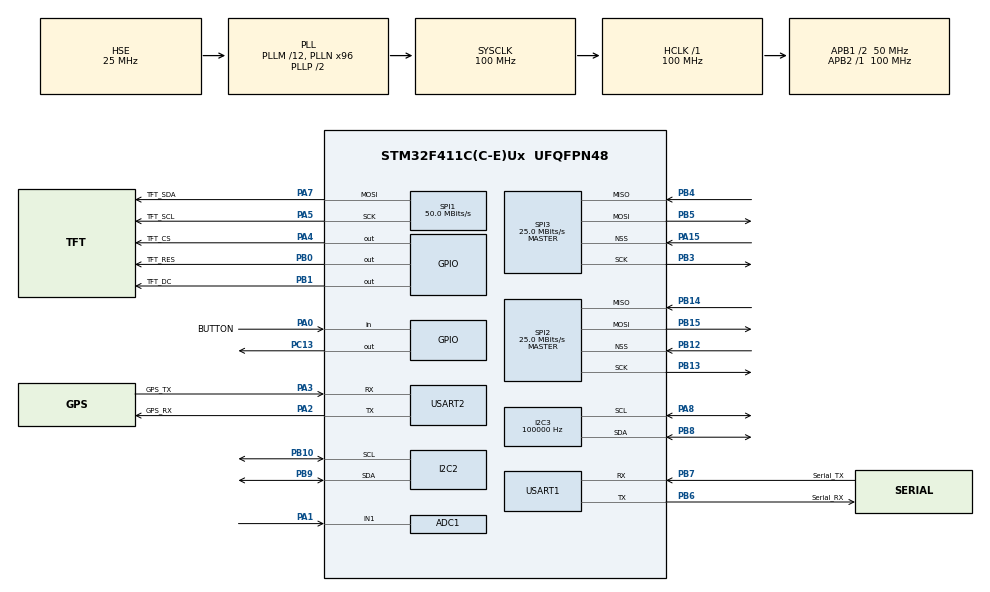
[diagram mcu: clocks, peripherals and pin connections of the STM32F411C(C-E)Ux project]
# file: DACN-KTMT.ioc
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ADC1.Channel-1\#ChannelRegularConversion=ADC_CHANNEL_1
ADC1.ContinuousConvMode=ENABLE
ADC1.InjNumberOfConversion=0
ADC1.NbrOfConversionFlag=1
ADC1.Rank-1\#ChannelRegularConversion=1
ADC1.SamplingTime-1\#ChannelRegularConversion=ADC_SAMPLETIME_3CYCLES
ADC1.master=1
Dma.I2C2_RX.2.Direction=DMA_PERIPH_TO_MEMORY
Dma.I2C2_RX.2.FIFOMode=DMA_FIFOMODE_DISABLE
Dma.I2C2_RX.2.Instance=DMA1_Stream3
Dma.I2C2_RX.2.MemDataAlignment=DMA_MDATAALIGN_BYTE
Dma.I2C2_RX.2.MemInc=DMA_MINC_ENABLE
Dma.I2C2_RX.2.Mode=DMA_NORMAL
Dma.I2C2_RX.2.PeriphDataAlignment=DMA_PDATAALIGN_BYTE
Dma.I2C2_RX.2.PeriphInc=DMA_PINC_DISABLE
Dma.I2C2_RX.2.Priority=DMA_PRIORITY_LOW
Dma.I2C2_TX.3.Direction=DMA_MEMORY_TO_PERIPH
Dma.I2C2_TX.3.FIFOMode=DMA_FIFOMODE_DISABLE
Dma.I2C2_TX.3.Instance=DMA1_Stream7
Dma.I2C2_TX.3.MemDataAlignment=DMA_MDATAALIGN_BYTE
Dma.I2C2_TX.3.MemInc=DMA_MINC_ENABLE
Dma.I2C2_TX.3.Mode=DMA_NORMAL
Dma.I2C2_TX.3.PeriphDataAlignment=DMA_PDATAALIGN_BYTE
Dma.I2C2_TX.3.PeriphInc=DMA_PINC_DISABLE
Dma.I2C2_TX.3.Priority=DMA_PRIORITY_LOW
Dma.I2C3_RX.5.Direction=DMA_PERIPH_TO_MEMORY
Dma.I2C3_RX.5.FIFOMode=DMA_FIFOMODE_DISABLE
Dma.I2C3_RX.5.Instance=DMA1_Stream2
Dma.I2C3_RX.5.MemDataAlignment=DMA_MDATAALIGN_BYTE
Dma.I2C3_RX.5.MemInc=DMA_MINC_ENABLE
Dma.I2C3_RX.5.Mode=DMA_NORMAL
Dma.I2C3_RX.5.PeriphDataAlignment=DMA_PDATAALIGN_BYTE
Dma.I2C3_RX.5.PeriphInc=DMA_PINC_DISABLE
Dma.I2C3_RX.5.Priority=DMA_PRIORITY_LOW
Dma.I2C3_TX.6.Direction=DMA_MEMORY_TO_PERIPH
Dma.I2C3_TX.6.FIFOMode=DMA_FIFOMODE_DISABLE
Dma.I2C3_TX.6.Instance=DMA1_Stream4
Dma.I2C3_TX.6.MemDataAlignment=DMA_MDATAALIGN_BYTE
Dma.I2C3_TX.6.MemInc=DMA_MINC_ENABLE
Dma.I2C3_TX.6.Mode=DMA_NORMAL
Dma.I2C3_TX.6.PeriphDataAlignment=DMA_PDATAALIGN_BYTE
Dma.I2C3_TX.6.PeriphInc=DMA_PINC_DISABLE
Dma.I2C3_TX.6.Priority=DMA_PRIORITY_LOW
Dma.Request0=USART2_RX
Dma.Request1=USART1_TX
Dma.Request2=I2C2_RX
Dma.Request3=I2C2_TX
Dma.Request4=SPI1_TX
Dma.Request5=I2C3_RX
Dma.Request6=I2C3_TX
Dma.SPI1_TX.4.Direction=DMA_MEMORY_TO_PERIPH
Dma.SPI1_TX.4.FIFOMode=DMA_FIFOMODE_DISABLE
Dma.SPI1_TX.4.Instance=DMA2_Stream2
Dma.SPI1_TX.4.MemDataAlignment=DMA_MDATAALIGN_BYTE
Dma.SPI1_TX.4.MemInc=DMA_MINC_ENABLE
Dma.SPI1_TX.4.Mode=DMA_NORMAL
Dma.SPI1_TX.4.PeriphDataAlignment=DMA_PDATAALIGN_BYTE
Dma.SPI1_TX.4.PeriphInc=DMA_PINC_DISABLE
Dma.SPI1_TX.4.Priority=DMA_PRIORITY_LOW
Dma.USART1_TX.1.Direction=DMA_MEMORY_TO_PERIPH
Dma.USART1_TX.1.FIFOMode=DMA_FIFOMODE_DISABLE
Dma.USART1_TX.1.Instance=DMA2_Stream7
Dma.USART1_TX.1.MemDataAlignment=DMA_MDATAALIGN_BYTE
Dma.USART1_TX.1.MemInc=DMA_MINC_ENABLE
Dma.USART1_TX.1.Mode=DMA_NORMAL
Dma.USART1_TX.1.PeriphDataAlignment=DMA_PDATAALIGN_BYTE
Dma.USART1_TX.1.PeriphInc=DMA_PINC_DISABLE
Dma.USART1_TX.1.Priority=DMA_PRIORITY_LOW
Dma.USART2_RX.0.Direction=DMA_PERIPH_TO_MEMORY
Dma.USART2_RX.0.FIFOMode=DMA_FIFOMODE_DISABLE
Dma.USART2_RX.0.Instance=DMA1_Stream5
Dma.USART2_RX.0.MemDataAlignment=DMA_MDATAALIGN_BYTE
Dma.USART2_RX.0.MemInc=DMA_MINC_ENABLE
Dma.USART2_RX.0.Mode=DMA_NORMAL
Dma.USART2_RX.0.PeriphDataAlignment=DMA_PDATAALIGN_BYTE
Dma.USART2_RX.0.PeriphInc=DMA_PINC_DISABLE
Dma.USART2_RX.0.Priority=DMA_PRIORITY_LOW
FREERTOS.Tasks01=TaskIMU,2,1024,StartTaskIMU,Default,NULL,Dynamic,NULL,NULL;TaskGPS,1,512,StartTaskGPS,Default,NULL,Dynamic,NULL,NULL;TaskLCD,-1,512,StartTaskLCD,Default,NULL,Dynamic,NULL,NULL;TaskBattery,0,128,StartTaskBattery,Default,NULL,Dynamic,NULL,NULL
FREERTOS.configENABLE_FPU=1
FREERTOS.configUSE_NEWLIB_REENTRANT=1
FREERTOS.configUSE_PREEMPTION=1
I2C2.I2C_Mode=I2C_Standard
I2C3.ClockSpeed=100000
Mcu.Family=STM32F4
Mcu.Name=STM32F411C(C-E)Ux
Mcu.Package=UFQFPN48
NVIC.ADC_IRQn=true\:5\:0\:false\:false\:true\:true\:true\:true\:true
NVIC.DMA1_Stream2_IRQn=true\:5\:0\:false\:false\:true\:false\:false\:true\:true
NVIC.DMA1_Stream3_IRQn=true\:5\:0\:false\:false\:true\:true\:false\:true\:true
NVIC.DMA1_Stream4_IRQn=true\:5\:0\:false\:false\:true\:true\:false\:true\:true
NVIC.DMA1_Stream5_IRQn=true\:5\:0\:false\:false\:true\:true\:false\:true\:true
NVIC.DMA1_Stream7_IRQn=true\:5\:0\:false\:false\:true\:true\:false\:true\:true
NVIC.DMA2_Stream2_IRQn=true\:5\:0\:false\:false\:true\:true\:false\:true\:true
NVIC.DMA2_Stream7_IRQn=true\:5\:0\:false\:false\:true\:true\:false\:true\:true
NVIC.I2C2_ER_IRQn=true\:5\:0\:false\:false\:true\:true\:true\:true\:true
NVIC.I2C2_EV_IRQn=true\:5\:0\:false\:false\:true\:true\:true\:true\:true
NVIC.I2C3_ER_IRQn=true\:5\:0\:false\:false\:true\:true\:true\:true\:true
NVIC.I2C3_EV_IRQn=true\:5\:0\:false\:false\:true\:true\:true\:true\:true
NVIC.PriorityGroup=NVIC_PRIORITYGROUP_4
NVIC.SPI1_IRQn=true\:5\:0\:false\:false\:true\:true\:true\:true\:true
NVIC.TIM2_IRQn=true\:5\:0\:false\:false\:true\:true\:true\:true\:true
NVIC.TIM4_IRQn=true\:15\:0\:false\:false\:true\:false\:false\:true\:true
NVIC.TimeBase=TIM4_IRQn
NVIC.TimeBaseIP=TIM4
NVIC.USART1_IRQn=true\:5\:0\:false\:false\:true\:true\:true\:true\:true
NVIC.USART2_IRQn=true\:5\:0\:false\:false\:true\:true\:true\:true\:true
PA0-WKUP.GPIO_Label=BUTTON
PA0-WKUP.Signal=GPIO_Input
PA1.Signal=ADCx_IN1
PA13.Mode=Serial_Wire
PA13.Signal=SYS_JTMS-SWDIO
PA14.Mode=Serial_Wire
PA14.Signal=SYS_JTCK-SWCLK
PA15.Mode=NSS_Signal_Hard_Input
PA15.Signal=SPI3_NSS
PA2.GPIO_Label=GPS_RX
PA2.Mode=Asynchronous
PA2.Signal=USART2_TX
PA3.GPIO_Label=GPS_TX
PA3.Mode=Asynchronous
PA3.Signal=USART2_RX
PA4.GPIO_Label=TFT_CS
PA4.Signal=GPIO_Output
PA5.GPIO_Label=TFT_SCL
PA5.Mode=TX_Only_Simplex_Unidirect_Master
PA5.Signal=SPI1_SCK
PA7.GPIO_Label=TFT_SDA
PA7.Mode=TX_Only_Simplex_Unidirect_Master
PA7.Signal=SPI1_MOSI
PA8.Mode=I2C
PA8.Signal=I2C3_SCL
PB0.GPIO_Label=TFT_RES
PB0.Signal=GPIO_Output
PB1.GPIO_Label=TFT_DC
PB1.Signal=GPIO_Output
PB10.Mode=I2C
PB10.Signal=I2C2_SCL
PB12.Mode=NSS_Signal_Hard_Input
PB12.Signal=SPI2_NSS
PB13.Mode=Full_Duplex_Master
PB13.Signal=SPI2_SCK
PB14.Mode=Full_Duplex_Master
PB14.Signal=SPI2_MISO
PB15.Mode=Full_Duplex_Master
PB15.Signal=SPI2_MOSI
PB3.Mode=Full_Duplex_Master
PB3.Signal=SPI3_SCK
PB4.Mode=Full_Duplex_Master
PB4.Signal=SPI3_MISO
PB5.Mode=Full_Duplex_Master
PB5.Signal=SPI3_MOSI
PB6.GPIO_Label=Serial_RX
PB6.Mode=Asynchronous
PB6.Signal=USART1_TX
PB7.GPIO_Label=Serial_TX
PB7.Mode=Asynchronous
PB7.Signal=USART1_RX
PB8.Mode=I2C
PB8.Signal=I2C3_SDA
PB9.Mode=I2C
PB9.Signal=I2C2_SDA
PC13-ANTI_TAMP.Signal=GPIO_Output
PH0\ -\ OSC_IN.Mode=HSE-External-Oscillator
PH0\ -\ OSC_IN.Signal=RCC_OSC_IN
PH1\ -\ OSC_OUT.Mode=HSE-External-Oscillator
PH1\ -\ OSC_OUT.Signal=RCC_OSC_OUT
ProjectManager.HeapSize=0x200
ProjectManager.StackSize=0x400
ProjectManager.TargetToolchain=STM32CubeIDE
RCC.48MHZClocksFreq_Value=50000000
RCC.AHBFreq_Value=100000000
RCC.APB1CLKDivider=RCC_HCLK_DIV2
RCC.APB1Freq_Value=50000000
RCC.APB1TimFreq_Value=100000000
RCC.APB2Freq_Value=100000000
RCC.APB2TimFreq_Value=100000000
RCC.CortexFreq_Value=100000000
RCC.HCLKFreq_Value=100000000
RCC.HSE_VALUE=25000000
RCC.HSI_VALUE=16000000
RCC.LSE_VALUE=32768
RCC.PLLM=12
RCC.PLLN=96
RCC.PLLSourceVirtual=RCC_PLLSOURCE_HSE
RCC.SYSCLKFreq_VALUE=100000000
RCC.SYSCLKSource=RCC_SYSCLKSOURCE_PLLCLK
RCC.VCOOutputFreq_Value=200000000
SH.ADCx_IN1.0=ADC1_IN1,IN1
SPI1.BaudRatePrescaler=SPI_BAUDRATEPRESCALER_2
SPI1.CalculateBaudRate=50.0 MBits/s
SPI1.Direction=SPI_DIRECTION_2LINES
SPI1.Mode=SPI_MODE_MASTER
SPI1.VirtualType=VM_MASTER
SPI2.CalculateBaudRate=25.0 MBits/s
SPI2.Direction=SPI_DIRECTION_2LINES
SPI2.Mode=SPI_MODE_MASTER
SPI2.VirtualNSS=VM_NSSHARD
SPI2.VirtualType=VM_MASTER
SPI3.CalculateBaudRate=25.0 MBits/s
SPI3.Direction=SPI_DIRECTION_2LINES
SPI3.Mode=SPI_MODE_MASTER
SPI3.VirtualNSS=VM_NSSHARD
SPI3.VirtualType=VM_MASTER
TIM2.Period=99
TIM2.Prescaler=9999
USART1.VirtualMode=VM_ASYNC
USART2.VirtualMode=VM_ASYNC
VP_FREERTOS_VS_CMSIS_V1.Mode=CMSIS_V1
VP_SYS_VS_tim4.Mode=TIM4
VP_TIM2_VS_ClockSourceINT.Mode=Internal
board=custom

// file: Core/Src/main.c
/* USER CODE BEGIN Header */
/**
  ******************************************************************************
  * @file           : main.c
  * @brief          : Main program body
  ******************************************************************************
  * @attention
  *
  * Copyright (c) 2025 STMicroelectronics.
  * All rights reserved.
  *
  * This software is licensed under terms that can be found in the LICENSE file
  * in the root directory of this software component.
  * If no LICENSE file comes with this software, it is provided AS-IS.
  *
  ******************************************************************************
  */
/* USER CODE END Header */
#include "main.h"
#include "cmsis_os.h"

/* USER CODE BEGIN Includes */
#include "global.h"
#include "st7735.h"
#include "gps.h"
#include "serial.h"
#include "timer.h"
#include "button.h"
#include "ukf.h"
#include "gps_ukf.h"
#include "imu.h"
#include "imu_10DOF.h"
#include "battery.h"
#include "gps_kf.h"

/* USER CODE END Includes */

ADC_HandleTypeDef hadc1;

I2C_HandleTypeDef hi2c2;
I2C_HandleTypeDef hi2c3;
DMA_HandleTypeDef hdma_i2c2_rx;
DMA_HandleTypeDef hdma_i2c2_tx;
DMA_HandleTypeDef hdma_i2c3_rx;
DMA_HandleTypeDef hdma_i2c3_tx;

SPI_HandleTypeDef hspi1;
SPI_HandleTypeDef hspi2;
SPI_HandleTypeDef hspi3;
DMA_HandleTypeDef hdma_spi1_tx;

TIM_HandleTypeDef htim2;

UART_HandleTypeDef huart1;
UART_HandleTypeDef huart2;
DMA_HandleTypeDef hdma_usart1_tx;
DMA_HandleTypeDef hdma_usart2_rx;

osThreadId TaskIMUHandle;
osThreadId TaskGPSHandle;
osThreadId TaskLCDHandle;
osThreadId TaskBatteryHandle;
/* USER CODE BEGIN PV */
double loc_gps_lon = 0.0;
double loc_gps_lat = 0.0;
double loc_gps_alt = 0.0;
double loc_azi = 0.0;
double loc_pitch = 0.0;
double loc_yaw = 0.0;
double loc_roll = 0.0;

double tag_gps_lon = 0.0;
double tag_gps_lat = 0.0;
double tag_gps_alt = 0.0;
double tag_distance = 0.0;

double gps_hdop = 0.0;

uint16_t battery_percent = 0;
uint8_t battery_percent_window[10];
uint8_t battery_curr_idx=0;

struct geod_geodesic g;

uint8_t gps_uart_idx = 0;
uint8_t gps_uart_tranfer_count = 0;

COORDINATES_t raw_coordinates;
COORDINATES_t kf_point;
int time = 0;
uint8_t kf_start =0;
double R_matrix[3][3];

int is_gps_new = 0;
/* USER CODE END PV */

void SystemClock_Config(void);
static void MX_GPIO_Init(void);
static void MX_DMA_Init(void);
static void MX_USART1_UART_Init(void);
static void MX_SPI1_Init(void);
static void MX_USART2_UART_Init(void);
static void MX_SPI2_Init(void);
static void MX_I2C2_Init(void);
static void MX_I2C3_Init(void);
static void MX_SPI3_Init(void);
static void MX_TIM2_Init(void);
static void MX_ADC1_Init(void);
void StartTaskIMU(void const * argument);
void StartTaskGPS(void const * argument);
void StartTaskLCD(void const * argument);
void StartTaskBattery(void const * argument);

int main(void)
{

  /* MCU Configuration--------------------------------------------------------*/

  /* Reset of all peripherals, Initializes the Flash interface and the Systick. */
  HAL_Init();

  /* Configure the system clock */
  SystemClock_Config();

  /* Initialize all configured peripherals */
  MX_GPIO_Init();
  MX_DMA_Init();
  MX_USART1_UART_Init();
  MX_SPI1_Init();
  MX_USART2_UART_Init();
  MX_SPI2_Init();
  MX_I2C2_Init();
  MX_I2C3_Init();
  MX_SPI3_Init();
  MX_TIM2_Init();
  MX_ADC1_Init();
  /* USER CODE BEGIN 2 */
  GPS_Init();
  geod_init(&g, 6378137, 1/298.257223563);

  Battery_Init();

  for(uint8_t i = 0;i<10;i++){
	  Battery_Run();
	  battery_percent_window[i] = Battery_Get_Percent();
	  HAL_Delay(200);
  }
  for(uint8_t i = 0;i<10;i++){
	  battery_percent+=battery_percent_window[i];
  }
  	  battery_percent /= 10;
  ST7735_init();
  GPS_KF_Init(&kf_gps, 0.05);
  HAL_Delay(100);
  ukfInit(&ukf, &hi2c2, &hi2c3);
  HAL_Delay(500);
  Timer_Init();
  Timer_Set(0, 20); //IMU
  Timer_Set(1, 10); //Battery
  Timer_Set(2, 100); // GPS + Karney
  Timer_Set(3, 100); // LCD
  /* USER CODE END 2 */

  /* USER CODE BEGIN RTOS_SEMAPHORES */
  /* add semaphores, ... */
  Semaphore_init();
  /* USER CODE END RTOS_SEMAPHORES */

  /* Create the thread(s) */
  /* definition and creation of TaskIMU */
  osThreadDef(TaskIMU, StartTaskIMU, osPriorityHigh, 0, 1024);
  TaskIMUHandle = osThreadCreate(osThread(TaskIMU), NULL);

  /* definition and creation of TaskGPS */
  osThreadDef(TaskGPS, StartTaskGPS, osPriorityAboveNormal, 0, 512);
  TaskGPSHandle = osThreadCreate(osThread(TaskGPS), NULL);

  /* definition and creation of TaskLCD */
  osThreadDef(TaskLCD, StartTaskLCD, osPriorityBelowNormal, 0, 512);
  TaskLCDHandle = osThreadCreate(osThread(TaskLCD), NULL);

  /* definition and creation of TaskBattery */
  osThreadDef(TaskBattery, StartTaskBattery, osPriorityNormal, 0, 128);
  TaskBatteryHandle = osThreadCreate(osThread(TaskBattery), NULL);

  /* Start scheduler */
  osKernelStart();

  /* We should never get here as control is now taken by the scheduler */

  /* Infinite loop */
  while (1)
  {

  }
}

void SystemClock_Config(void)
{
  RCC_OscInitTypeDef RCC_OscInitStruct = {0};
  RCC_ClkInitTypeDef RCC_ClkInitStruct = {0};

  /** Configure the main internal regulator output voltage
  */
  __HAL_RCC_PWR_CLK_ENABLE();
  __HAL_PWR_VOLTAGESCALING_CONFIG(PWR_REGULATOR_VOLTAGE_SCALE1);

  /** Initializes the RCC Oscillators according to the specified parameters
  * in the RCC_OscInitTypeDef structure.
  */
  RCC_OscInitStruct.OscillatorType = RCC_OSCILLATORTYPE_HSE;
  RCC_OscInitStruct.HSEState = RCC_HSE_ON;
  RCC_OscInitStruct.PLL.PLLState = RCC_PLL_ON;
  RCC_OscInitStruct.PLL.PLLSource = RCC_PLLSOURCE_HSE;
  RCC_OscInitStruct.PLL.PLLM = 12;
  RCC_OscInitStruct.PLL.PLLN = 96;
  RCC_OscInitStruct.PLL.PLLP = RCC_PLLP_DIV2;
  RCC_OscInitStruct.PLL.PLLQ = 4;
  if (HAL_RCC_OscConfig(&RCC_OscInitStruct) != HAL_OK)
  {
    Error_Handler();
  }

  /** Initializes the CPU, AHB and APB buses clocks
  */
  RCC_ClkInitStruct.ClockType = RCC_CLOCKTYPE_HCLK|RCC_CLOCKTYPE_SYSCLK
                              |RCC_CLOCKTYPE_PCLK1|RCC_CLOCKTYPE_PCLK2;
  RCC_ClkInitStruct.SYSCLKSource = RCC_SYSCLKSOURCE_PLLCLK;
  RCC_ClkInitStruct.AHBCLKDivider = RCC_SYSCLK_DIV1;
  RCC_ClkInitStruct.APB1CLKDivider = RCC_HCLK_DIV2;
  RCC_ClkInitStruct.APB2CLKDivider = RCC_HCLK_DIV1;

  if (HAL_RCC_ClockConfig(&RCC_ClkInitStruct, FLASH_LATENCY_3) != HAL_OK)
  {
    Error_Handler();
  }
}

static void MX_ADC1_Init(void)
{

  ADC_ChannelConfTypeDef sConfig = {0};

  /** Configure the global features of the ADC (Clock, Resolution, Data Alignment and number of conversion)
  */
  hadc1.Instance = ADC1;
  hadc1.Init.ClockPrescaler = ADC_CLOCK_SYNC_PCLK_DIV4;
  hadc1.Init.Resolution = ADC_RESOLUTION_12B;
  hadc1.Init.ScanConvMode = DISABLE;
  hadc1.Init.ContinuousConvMode = ENABLE;
  hadc1.Init.DiscontinuousConvMode = DISABLE;
  hadc1.Init.ExternalTrigConvEdge = ADC_EXTERNALTRIGCONVEDGE_NONE;
  hadc1.Init.ExternalTrigConv = ADC_SOFTWARE_START;
  hadc1.Init.DataAlign = ADC_DATAALIGN_RIGHT;
  hadc1.Init.NbrOfConversion = 1;
  hadc1.Init.DMAContinuousRequests = DISABLE;
  hadc1.Init.EOCSelection = ADC_EOC_SINGLE_CONV;
  if (HAL_ADC_Init(&hadc1) != HAL_OK)
  {
    Error_Handler();
  }

  /** Configure for the selected ADC regular channel its corresponding rank in the sequencer and its sample time.
  */
  sConfig.Channel = ADC_CHANNEL_1;
  sConfig.Rank = 1;
  sConfig.SamplingTime = ADC_SAMPLETIME_3CYCLES;
  if (HAL_ADC_ConfigChannel(&hadc1, &sConfig) != HAL_OK)
  {
    Error_Handler();
  }

}

static void MX_I2C2_Init(void)
{

  /* USER CODE BEGIN I2C2_Init 0 */
	HAL_NVIC_SetPriority(I2C2_EV_IRQn, 6, 0);
	HAL_NVIC_EnableIRQ(I2C2_EV_IRQn);

	HAL_NVIC_SetPriority(I2C2_ER_IRQn, 6, 0);
	HAL_NVIC_EnableIRQ(I2C2_ER_IRQn);
  /* USER CODE END I2C2_Init 0 */

  hi2c2.Instance = I2C2;
  hi2c2.Init.ClockSpeed = 100000;
  hi2c2.Init.DutyCycle = I2C_DUTYCYCLE_2;
  hi2c2.Init.OwnAddress1 = 0;
  hi2c2.Init.AddressingMode = I2C_ADDRESSINGMODE_7BIT;
  hi2c2.Init.DualAddressMode = I2C_DUALADDRESS_DISABLE;
  hi2c2.Init.OwnAddress2 = 0;
  hi2c2.Init.GeneralCallMode = I2C_GENERALCALL_DISABLE;
  hi2c2.Init.NoStretchMode = I2C_NOSTRETCH_DISABLE;
  if (HAL_I2C_Init(&hi2c2) != HAL_OK)
  {
    Error_Handler();
  }

}

static void MX_I2C3_Init(void)
{

  /* USER CODE BEGIN I2C3_Init 0 */
  HAL_NVIC_SetPriority(I2C3_EV_IRQn, 6, 0);
  HAL_NVIC_EnableIRQ(I2C3_EV_IRQn);
  HAL_NVIC_SetPriority(I2C3_ER_IRQn, 6, 0);
  HAL_NVIC_EnableIRQ(I2C3_ER_IRQn);
  /* USER CODE END I2C3_Init 0 */

  hi2c3.Instance = I2C3;
  hi2c3.Init.ClockSpeed = 100000;
  hi2c3.Init.DutyCycle = I2C_DUTYCYCLE_2;
  hi2c3.Init.OwnAddress1 = 0;
  hi2c3.Init.AddressingMode = I2C_ADDRESSINGMODE_7BIT;
  hi2c3.Init.DualAddressMode = I2C_DUALADDRESS_DISABLE;
  hi2c3.Init.OwnAddress2 = 0;
  hi2c3.Init.GeneralCallMode = I2C_GENERALCALL_DISABLE;
  hi2c3.Init.NoStretchMode = I2C_NOSTRETCH_DISABLE;
  if (HAL_I2C_Init(&hi2c3) != HAL_OK)
  {
    Error_Handler();
  }

}

static void MX_SPI1_Init(void)
{

  /* SPI1 parameter configuration*/
  hspi1.Instance = SPI1;
  hspi1.Init.Mode = SPI_MODE_MASTER;
  hspi1.Init.Direction = SPI_DIRECTION_2LINES;
  hspi1.Init.DataSize = SPI_DATASIZE_8BIT;
  hspi1.Init.CLKPolarity = SPI_POLARITY_LOW;
  hspi1.Init.CLKPhase = SPI_PHASE_1EDGE;
  hspi1.Init.NSS = SPI_NSS_SOFT;
  hspi1.Init.BaudRatePrescaler = SPI_BAUDRATEPRESCALER_2;
  hspi1.Init.FirstBit = SPI_FIRSTBIT_MSB;
  hspi1.Init.TIMode = SPI_TIMODE_DISABLE;
  hspi1.Init.CRCCalculation = SPI_CRCCALCULATION_DISABLE;
  hspi1.Init.CRCPolynomial = 10;
  if (HAL_SPI_Init(&hspi1) != HAL_OK)
  {
    Error_Handler();
  }

}

static void MX_SPI2_Init(void)
{

  /* SPI2 parameter configuration*/
  hspi2.Instance = SPI2;
  hspi2.Init.Mode = SPI_MODE_MASTER;
  hspi2.Init.Direction = SPI_DIRECTION_2LINES;
  hspi2.Init.DataSize = SPI_DATASIZE_8BIT;
  hspi2.Init.CLKPolarity = SPI_POLARITY_LOW;
  hspi2.Init.CLKPhase = SPI_PHASE_1EDGE;
  hspi2.Init.NSS = SPI_NSS_HARD_INPUT;
  hspi2.Init.BaudRatePrescaler = SPI_BAUDRATEPRESCALER_2;
  hspi2.Init.FirstBit = SPI_FIRSTBIT_MSB;
  hspi2.Init.TIMode = SPI_TIMODE_DISABLE;
  hspi2.Init.CRCCalculation = SPI_CRCCALCULATION_DISABLE;
  hspi2.Init.CRCPolynomial = 10;
  if (HAL_SPI_Init(&hspi2) != HAL_OK)
  {
    Error_Handler();
  }

}

static void MX_SPI3_Init(void)
{

  /* SPI3 parameter configuration*/
  hspi3.Instance = SPI3;
  hspi3.Init.Mode = SPI_MODE_MASTER;
  hspi3.Init.Direction = SPI_DIRECTION_2LINES;
  hspi3.Init.DataSize = SPI_DATASIZE_8BIT;
  hspi3.Init.CLKPolarity = SPI_POLARITY_LOW;
  hspi3.Init.CLKPhase = SPI_PHASE_1EDGE;
  hspi3.Init.NSS = SPI_NSS_HARD_INPUT;
  hspi3.Init.BaudRatePrescaler = SPI_BAUDRATEPRESCALER_2;
  hspi3.Init.FirstBit = SPI_FIRSTBIT_MSB;
  hspi3.Init.TIMode = SPI_TIMODE_DISABLE;
  hspi3.Init.CRCCalculation = SPI_CRCCALCULATION_DISABLE;
  hspi3.Init.CRCPolynomial = 10;
  if (HAL_SPI_Init(&hspi3) != HAL_OK)
  {
    Error_Handler();
  }

}

static void MX_TIM2_Init(void)
{

  TIM_ClockConfigTypeDef sClockSourceConfig = {0};
  TIM_MasterConfigTypeDef sMasterConfig = {0};

  htim2.Instance = TIM2;
  htim2.Init.Prescaler = 9999;
  htim2.Init.CounterMode = TIM_COUNTERMODE_UP;
  htim2.Init.Period = 99;
  htim2.Init.ClockDivision = TIM_CLOCKDIVISION_DIV1;
  htim2.Init.AutoReloadPreload = TIM_AUTORELOAD_PRELOAD_DISABLE;
  if (HAL_TIM_Base_Init(&htim2) != HAL_OK)
  {
    Error_Handler();
  }
  sClockSourceConfig.ClockSource = TIM_CLOCKSOURCE_INTERNAL;
  if (HAL_TIM_ConfigClockSource(&htim2, &sClockSourceConfig) != HAL_OK)
  {
    Error_Handler();
  }
  sMasterConfig.MasterOutputTrigger = TIM_TRGO_RESET;
  sMasterConfig.MasterSlaveMode = TIM_MASTERSLAVEMODE_DISABLE;
  if (HAL_TIMEx_MasterConfigSynchronization(&htim2, &sMasterConfig) != HAL_OK)
  {
    Error_Handler();
  }

}

static void MX_USART1_UART_Init(void)
{

  huart1.Instance = USART1;
  huart1.Init.BaudRate = 115200;
  huart1.Init.WordLength = UART_WORDLENGTH_8B;
  huart1.Init.StopBits = UART_STOPBITS_1;
  huart1.Init.Parity = UART_PARITY_NONE;
  huart1.Init.Mode = UART_MODE_TX_RX;
  huart1.Init.HwFlowCtl = UART_HWCONTROL_NONE;
  huart1.Init.OverSampling = UART_OVERSAMPLING_16;
  if (HAL_UART_Init(&huart1) != HAL_OK)
  {
    Error_Handler();
  }

}

static void MX_USART2_UART_Init(void)
{

  huart2.Instance = USART2;
  huart2.Init.BaudRate = 115200;
  huart2.Init.WordLength = UART_WORDLENGTH_8B;
  huart2.Init.StopBits = UART_STOPBITS_1;
  huart2.Init.Parity = UART_PARITY_NONE;
  huart2.Init.Mode = UART_MODE_TX_RX;
  huart2.Init.HwFlowCtl = UART_HWCONTROL_NONE;
  huart2.Init.OverSampling = UART_OVERSAMPLING_16;
  if (HAL_UART_Init(&huart2) != HAL_OK)
  {
    Error_Handler();
  }

}

static void MX_DMA_Init(void)
{

  /* DMA controller clock enable */
  __HAL_RCC_DMA1_CLK_ENABLE();
  __HAL_RCC_DMA2_CLK_ENABLE();

  /* DMA interrupt init */
  /* DMA1_Stream2_IRQn interrupt configuration */
  HAL_NVIC_SetPriority(DMA1_Stream2_IRQn, 5, 0);
  HAL_NVIC_EnableIRQ(DMA1_Stream2_IRQn);
  /* DMA1_Stream3_IRQn interrupt configuration */
  HAL_NVIC_SetPriority(DMA1_Stream3_IRQn, 5, 0);
  HAL_NVIC_EnableIRQ(DMA1_Stream3_IRQn);
  /* DMA1_Stream4_IRQn interrupt configuration */
  HAL_NVIC_SetPriority(DMA1_Stream4_IRQn, 5, 0);
  HAL_NVIC_EnableIRQ(DMA1_Stream4_IRQn);
  /* DMA1_Stream5_IRQn interrupt configuration */
  HAL_NVIC_SetPriority(DMA1_Stream5_IRQn, 5, 0);
  HAL_NVIC_EnableIRQ(DMA1_Stream5_IRQn);
  /* DMA1_Stream7_IRQn interrupt configuration */
  HAL_NVIC_SetPriority(DMA1_Stream7_IRQn, 5, 0);
  HAL_NVIC_EnableIRQ(DMA1_Stream7_IRQn);
  /* DMA2_Stream2_IRQn interrupt configuration */
  HAL_NVIC_SetPriority(DMA2_Stream2_IRQn, 5, 0);
  HAL_NVIC_EnableIRQ(DMA2_Stream2_IRQn);
  /* DMA2_Stream7_IRQn interrupt configuration */
  HAL_NVIC_SetPriority(DMA2_Stream7_IRQn, 5, 0);
  HAL_NVIC_EnableIRQ(DMA2_Stream7_IRQn);

}

static void MX_GPIO_Init(void)
{
  GPIO_InitTypeDef GPIO_InitStruct = {0};

  /* GPIO Ports Clock Enable */
  __HAL_RCC_GPIOC_CLK_ENABLE();
  __HAL_RCC_GPIOH_CLK_ENABLE();
  __HAL_RCC_GPIOA_CLK_ENABLE();
  __HAL_RCC_GPIOB_CLK_ENABLE();

  /*Configure GPIO pin Output Level */
  HAL_GPIO_WritePin(GPIOC, GPIO_PIN_13, GPIO_PIN_RESET);

  /*Configure GPIO pin Output Level */
  HAL_GPIO_WritePin(TFT_CS_GPIO_Port, TFT_CS_Pin, GPIO_PIN_RESET);

  /*Configure GPIO pin Output Level */
  HAL_GPIO_WritePin(GPIOB, TFT_RES_Pin|TFT_DC_Pin, GPIO_PIN_RESET);

  /*Configure GPIO pin : PC13 */
  GPIO_InitStruct.Pin = GPIO_PIN_13;
  GPIO_InitStruct.Mode = GPIO_MODE_OUTPUT_PP;
  GPIO_InitStruct.Pull = GPIO_NOPULL;
  GPIO_InitStruct.Speed = GPIO_SPEED_FREQ_LOW;
  HAL_GPIO_Init(GPIOC, &GPIO_InitStruct);

  /*Configure GPIO pin : BUTTON_Pin */
  GPIO_InitStruct.Pin = BUTTON_Pin;
  GPIO_InitStruct.Mode = GPIO_MODE_INPUT;
  GPIO_InitStruct.Pull = GPIO_NOPULL;
  HAL_GPIO_Init(BUTTON_GPIO_Port, &GPIO_InitStruct);

  /*Configure GPIO pin : TFT_CS_Pin */
  GPIO_InitStruct.Pin = TFT_CS_Pin;
  GPIO_InitStruct.Mode = GPIO_MODE_OUTPUT_PP;
  GPIO_InitStruct.Pull = GPIO_NOPULL;
  GPIO_InitStruct.Speed = GPIO_SPEED_FREQ_LOW;
  HAL_GPIO_Init(TFT_CS_GPIO_Port, &GPIO_InitStruct);

  /*Configure GPIO pins : TFT_RES_Pin TFT_DC_Pin */
  GPIO_InitStruct.Pin = TFT_RES_Pin|TFT_DC_Pin;
  GPIO_InitStruct.Mode = GPIO_MODE_OUTPUT_PP;
  GPIO_InitStruct.Pull = GPIO_NOPULL;
  GPIO_InitStruct.Speed = GPIO_SPEED_FREQ_LOW;
  HAL_GPIO_Init(GPIOB, &GPIO_InitStruct);

}

/* USER CODE BEGIN 4 */

void HAL_UARTEx_RxEventCallback(UART_HandleTypeDef *huart, uint16_t Size)
{
    if (huart->Instance == USART2)
    {

        HAL_GPIO_TogglePin(GPIOC, GPIO_PIN_13);
        GPS_Data_Update();

        HAL_UARTEx_ReceiveToIdle_DMA(&GPS_UART_PORT, gps_uart_rx_buffer, GPS_UART_BUFFER_SIZE);
        __HAL_DMA_DISABLE_IT(huart->hdmarx, DMA_IT_HT);
    }
}

void HAL_I2C_MemRxCpltCallback(I2C_HandleTypeDef *hi2c)
{
//	Serial_Print("call back\n");
    if (hi2c == &hi2c2)
    {
//    	HAL_DMA_Abort_IT(hi2c->hdmarx);
        BaseType_t xHigherPriorityTaskWoken = pdFALSE;
        xSemaphoreGiveFromISR(i2cDmaSemHandle, &xHigherPriorityTaskWoken);
        portYIELD_FROM_ISR(xHigherPriorityTaskWoken);
    }
}

//void HAL_I2C_MasterTxCpltCallback(I2C_HandleTypeDef *hi2c)
//{
//    if (hi2c == &hi2c3){
//    	Serial_Print("callback\n");
//    	switch (imuState)
//    	    {
//    	    case IMU_ACC_TX:
//    	    	Serial_Print("call back\n");
//    	        imuState = IMU_ACC_RX;
//    	        HAL_I2C_Master_Receive_IT(hi2c, ACCE_ADDR, data_acce, 6);
//    	        break;
//
//    	    case IMU_MAG_TX:
//    	        imuState = IMU_MAG_RX;
//    	        HAL_I2C_Master_Receive_IT(hi2c, MAG_ADDR, data_mag, 6);
//    	        break;
//
//    	    default:
//    	        break;
//    	    }
//    }
//
//}
//void HAL_I2C_MasterRxCpltCallback(I2C_HandleTypeDef *hi2c)
//{
//    if (hi2c == &hi2c3){
//    	Serial_Print("callbacki2c\n");
//    	switch (imuState)
//    	    {
//    	    case IMU_ACC_RX:
//    	        {
//    	        	Serial_Print("callback\n");
//    	            static uint8_t mag_reg = MAG_DATAX0_REG;
//    	            imuState = IMU_MAG_TX;
//    	            HAL_I2C_Master_Transmit_IT(hi2c, MAG_ADDR, &mag_reg, 1);
//    	        }
//    	        break;
//
//    	    case IMU_MAG_RX:
//    	        imuState = IMU_DONE;
//
//    	        BaseType_t xHigherPriorityTaskWoken = pdFALSE;
//    	        xSemaphoreGiveFromISR(i2cDmaSemHandle, &xHigherPriorityTaskWoken);
//    	        portYIELD_FROM_ISR(xHigherPriorityTaskWoken);
//    	        break;
//
//    	    default:
//    	        break;
//    	    }
//    }
//
//}
void HAL_ADC_ConvCpltCallback(ADC_HandleTypeDef *hadc)
{
	Battery_ADC_ConvCpltCallback(hadc);
}

void HAL_SPI_TxCpltCallback(SPI_HandleTypeDef *hspi)
{
//	Serial_Print("call back\n");
    if (hspi == &ST7735_SPI_PORT)
    {
        HAL_GPIO_WritePin(ST7735_CS_GPIO_Port, ST7735_CS_Pin, GPIO_PIN_SET);
//        Serial_Print("callbackSPI\n");
        osSemaphoreRelease(spiDmaSemHandle);
    }
}
/* USER CODE END 4 */

void StartTaskIMU(void const * argument)
{
  /* USER CODE BEGIN 5 */
  /* Infinite loop */
//  Serial_Print("TASK IMU aaaaaaaaaaaaa RUNNING\n");
    for (;;)
    {

//    	Serial_Print("IMU\n");
        acc_read_dma_start(&hi2c2);
        if (osSemaphoreWait(i2cDmaSemHandle, osWaitForever) != osOK)
        {
            Serial_Print("ACC OUT\n");
            goto imu_delay;
        }

        gyro_read_dma_start(&hi2c2);
        if (osSemaphoreWait(i2cDmaSemHandle, osWaitForever) != osOK)
        {
            Serial_Print("GYRO OUT\n");
            continue;
        }

        mag_read_dma_start(&hi2c2);
        if (osSemaphoreWait(i2cDmaSemHandle, osWaitForever) != osOK)
        {
            Serial_Print("MAG OUT\n");
            goto imu_delay;
        }
        gyro_read(&hi2c2);
        accel_read(&hi2c2);
        mag_read(&hi2c2);
        baro_read(&hi2c3);
        imu_compute_attitude();
        ukf_filter(&ukf, &imu);
        //         loc_azi   = imu.mx;
	     //         loc_pitch = imu.my;
	     //         loc_roll  = imu.mz;
	     //         loc_azi   = imu.gx;
	     //         loc_pitch = imu.gy;
	     //         loc_roll  = imu.gz;

	     loc_roll  = ukf.x[0];
	     loc_pitch = -ukf.x[1];
	     loc_azi   = ukf.x[2];

	     //         loc_azi = imu.yaw;

	     float yaw_offset = 180.0f - 360.0f;
	     loc_azi += yaw_offset;

	     if (loc_azi < 0)
	         loc_azi += 360.0f;

	     if (loc_azi >= 360.0f)
	         loc_azi -= 360.0f;

	     //         loc_pitch = imu.pitch;
	     //         loc_azi   = imu.yaw;
	     //         loc_roll  = imu.roll;

	  imu_delay:
	             osDelay(2000);
    }

  /* USER CODE END 5 */
}

void StartTaskGPS(void const * argument)
{
  /* USER CODE BEGIN StartTaskGPS */
  /* Infinite loop */

	//  TickType_t last = xTaskGetTickCount();
	//	Serial_Print("Task GPS Running\n");
//	double ax_mps2 = 0;
//	double ay_mps2 = 0;
//	double az_mps2 = 0;
//	double baro_alt = 0;
	double observerLat = 11.537543;
	double observerLon = 106.901618;
	double targetLat   = 11.498572;
	double targetLon   = 106.886122;
	while(1){
	//IMU_Get_Data(&ax_mps2, &ay_mps2, &az_mps2, &pitch, &roll, &yaw);
//		GPS_KF_Convert_Acceleration(ax_mps2, ay_mps2, az_mps2,
//	                                  loc_pitch, loc_roll, loc_azi, R_matrix);
//		is_gps_new = 0;
//		if (GPS_Status_Get()){ // Hàm này chỉ kiểm tra cờ, không được delay
//	          GPS_Coordinates_Get(&raw_coordinates);
//	          is_gps_new = 1;
//
//	          // KHỞI TẠO LẦN ĐẦU (Nếu chưa chạy)
//	          if (!kf_start)
//	          {
//	              // Set vị trí ban đầu
//	              kf_gps.x[0] = raw_coordinates.Lat;
//	              kf_gps.x[1] = raw_coordinates.Lon;
//	              baro_alt = raw_coordinates.Alt;
//
//	              // Nếu dùng Baro thì set độ cao baro làm gốc
//	              //kf_gps.x[2] = baro_alt;
//
//	              // Reset vận tốc về 0
//	              kf_gps.x[3] = 0; kf_gps.x[4] = 0; kf_gps.x[5] = 0;
//	              kf_start = 1;
//	          }
//	      }
//
//	      if (kf_start)
//	      {
//	          GPS_KF_Filter(&kf_gps,
//	                        raw_coordinates.Lat,
//	                        raw_coordinates.Lon,
//	                        baro_alt,
//	                        is_gps_new);
//
//	          loc_gps_lat = kf_gps.x[0];
//	          loc_gps_lon = kf_gps.x[1];
//	          loc_gps_alt = kf_gps.x[2];
//
//	      }
//
//
//      double pitch_rad = loc_pitch * M_PI / 180.0;
//      double s12 = tag_distance * cos(pitch_rad);
//
//      geod_direct(&g,
//        loc_gps_lat, loc_gps_lon, loc_azi,
//        s12,
//        &tag_gps_lat, &tag_gps_lon, NULL);
//    }

		observerLat += 0.000056;
			observerLon += 0.000012;
			targetLat += 0.000012;
			targetLon += 0.000056;
	Serial_Print("Observer Coordinate = %.6f, %.6f\n", observerLat, observerLon);
	Serial_Print("Target   Coordinate = %.6f, %.6f\n", targetLat, targetLon);

    osDelay(7000);
	}
  /* USER CODE END StartTaskGPS */
}

void StartTaskLCD(void const * argument)
{
  /* USER CODE BEGIN StartTaskLCD */
  /* Infinite loop */
//  Serial_Print("TASK LCD RUNNING\n");
  for(;;)
  {
//	Serial_Print("LCD\n");
	ST7735_Run();
	osDelay(1000);
  }
  /* USER CODE END StartTaskLCD */
}

void StartTaskBattery(void const * argument)
{
  /* USER CODE BEGIN StartTaskBattery */
  /* Infinite loop */

  for(;;)
  {
//	Serial_Print("BATTERY\n");
	Battery_Run();
    battery_percent = Battery_Get_Percent();
    osDelay(1000);
  }
  /* USER CODE END StartTaskBattery */
}

void HAL_TIM_PeriodElapsedCallback(TIM_HandleTypeDef *htim)
{
  /* USER CODE BEGIN Callback 0 */
//	if (htim->Instance == HANDLE_SW_INSTANCE)
//	{
//		Timer_Run();
//	}

  /* USER CODE END Callback 0 */
  if (htim->Instance == TIM4)
  {
    HAL_IncTick();
  }
  /* USER CODE BEGIN Callback 1 */
//
  /* USER CODE END Callback 1 */
}

void Error_Handler(void)
{
  __disable_irq();
  while (1)
  {
  }
}
